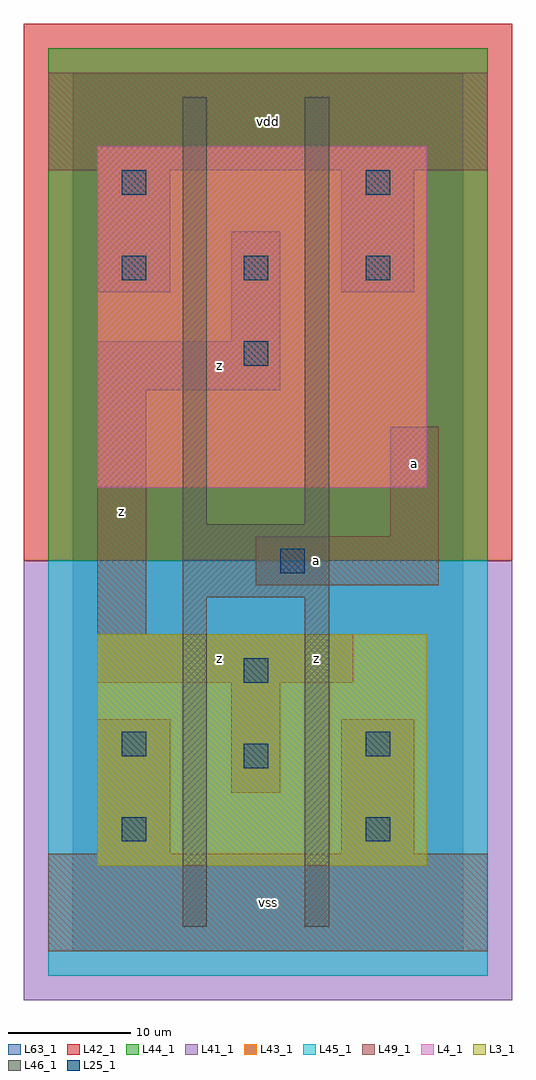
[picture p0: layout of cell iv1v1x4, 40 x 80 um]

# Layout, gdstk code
import gdstk
lib = gdstk.Library(unit=1e-6, precision=1e-09)
def R(c, l, rs):  # rectangles x0, y0, x1, y1
    for r in rs: c.add(gdstk.rectangle(r[:2], r[2:], *l))
def A(c, l, x, y, w, h, nx, ny, dx, dy):  # array of equal rectangles
    R(c, l, [(x+i*dx, y+j*dy, x+i*dx+w, y+j*dy+h) for i in range(nx) for j in range(ny)])
L3_1 = (3, 1)
L4_1 = (4, 1)
L25_1 = (25, 1)
L41_1 = (41, 1)
L42_1 = (42, 1)
L43_1 = (43, 1)
L44_1 = (44, 1)
L45_1 = (45, 1)
L46_1 = (46, 1)
L49_1 = (49, 1)
L63_1 = (63, 1)

iv1v1x4 = lib.new_cell('iv1v1x4')
R(iv1v1x4, L3_1, [(2,7,29,26)])
R(iv1v1x4, L4_1, [(2,38,29,66)])
A(iv1v1x4, L25_1, 4, 55, 2, 2, 3, 1, 10, 0)
R(iv1v1x4, L25_1, [(4,9,6,11), (24,9,26,11), (14,15,16,17), (4,16,6,18), (24,16,26,18), (14,22,16,24), (17,31,19,33), (14,48,16,50), (4,62,6,64), (24,62,26,64)])
R(iv1v1x4, L41_1, [(-4,-4,36,32)])
R(iv1v1x4, L42_1, [(-4,32,36,76)])
R(iv1v1x4, L43_1, [(2,7,29,26), (2,38,29,66)])
R(iv1v1x4, L44_1, [(-2,32,34,74)])
R(iv1v1x4, L45_1, [(-2,-2,34,32)])
R(iv1v1x4, L46_1, [(9,2,11,29), (19,2,21,29), (9,29,21,35), (9,35,11,70), (19,35,21,70)])
R(iv1v1x4, L49_1, [(-2,0,34,8), (2,8,8,19), (22,8,28,19), (13,13,17,22), (2,22,23,26), (2,26,6,46), (15,30,30,34), (26,34,30,43), (2,46,17,50), (13,50,17,59), (2,54,8,64), (22,54,28,64), (-2,64,34,72)])
R(iv1v1x4, L63_1, [(0,0,32,72)])
iv1v1x4.add(gdstk.Label('z', (4,36), layer=49, texttype=1))
iv1v1x4.add(gdstk.Label('z', (12,24), layer=49, texttype=1))
iv1v1x4.add(gdstk.Label('z', (12,48), layer=49, texttype=1))
iv1v1x4.add(gdstk.Label('vss', (16,4), layer=49, texttype=1))
iv1v1x4.add(gdstk.Label('a', (20,32), layer=49, texttype=1))
iv1v1x4.add(gdstk.Label('z', (20,24), layer=49, texttype=1))
iv1v1x4.add(gdstk.Label('vdd', (16,68), layer=49, texttype=1))
iv1v1x4.add(gdstk.Label('a', (28,40), layer=49, texttype=1))

lib.write_gds('iv1v1x4.gds')
